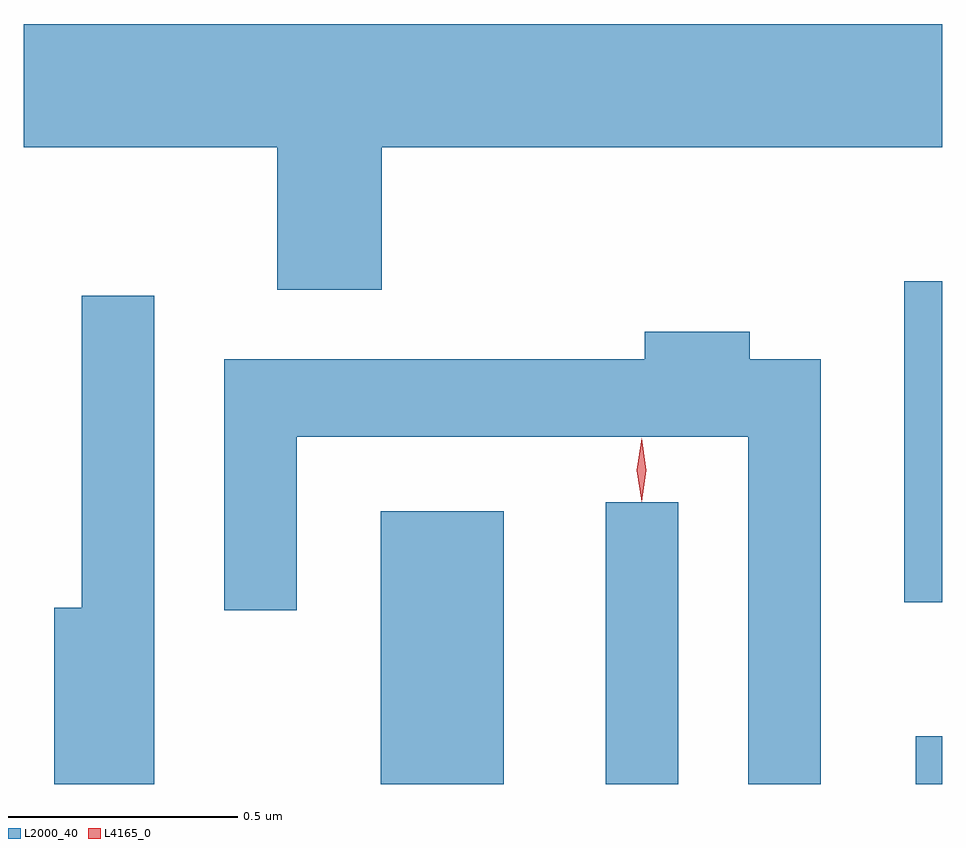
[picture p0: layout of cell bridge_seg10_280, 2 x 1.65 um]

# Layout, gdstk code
import gdstk
lib = gdstk.Library(unit=1e-6, precision=1e-09)
def R(c, l, rs):  # rectangles x0, y0, x1, y1
    for r in rs: c.add(gdstk.rectangle(r[:2], r[2:], *l))
def P(c, l, *ps):  # polygons
    for p in ps: c.add(gdstk.Polygon(p, *l))
L2000_40 = (2000, 40)
L4165_0 = (4165, 0)

bridge_seg10_280 = lib.new_cell('bridge_seg10_280')
R(bridge_seg10_280, L2000_40, [(1816.256,2101.43,1816.524,2102.024), (1816.746,2101.43,1816.904,2102.043), (1817.421,2101.43,1817.479,2101.534), (1817.396,2101.826,1817.479,2102.524)])
P(bridge_seg10_280, L2000_40, [(1816.259,2102.816),(1817.479,2102.816),(1817.479,2103.084),(1815.479,2103.084),(1815.479,2102.816),(1816.031,2102.816),(1816.031,2102.506),(1816.259,2102.506)],
  [(1815.764,2102.493),(1815.606,2102.493),(1815.606,2101.814),(1815.546,2101.814),(1815.546,2101.43),(1815.764,2101.43)],
  [(1817.214,2102.354),(1817.059,2102.354),(1817.059,2102.414),(1816.831,2102.414),(1816.831,2102.354),(1815.916,2102.354),(1815.916,2101.808),(1816.074,2101.808),(1816.074,2102.186),(1817.056,2102.186),(1817.056,2101.43),(1817.214,2101.43)])
P(bridge_seg10_280, L4165_0, [(1816.824,2102.044),(1816.824,2102.044),(1816.814,2102.113),(1816.824,2102.182),(1816.824,2102.183),(1816.825,2102.182),(1816.834,2102.113),(1816.825,2102.044)])

lib.write_gds('bridge_seg10_280.gds')
